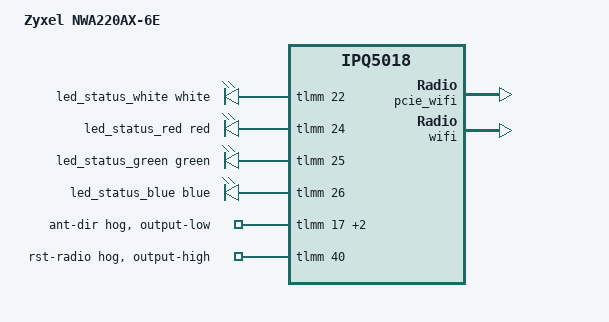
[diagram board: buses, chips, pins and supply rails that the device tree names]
// SPDX-License-Identifier: GPL-2.0-or-later OR MIT

/dts-v1/;

#include "ipq5018-zyxel-6e.dtsi"

/ {
	model = "Zyxel NWA220AX-6E";
	compatible = "zyxel,nwa220ax-6e", "qcom,ipq5018";

	leds {
		compatible = "gpio-leds";

		led_status_white: led-0 {
			function = LED_FUNCTION_STATUS;
			color = <LED_COLOR_ID_WHITE>;
			gpios = <&tlmm 22 GPIO_ACTIVE_HIGH>;
		};

		led_status_red: led-1 {
			function = LED_FUNCTION_STATUS;
			color = <LED_COLOR_ID_RED>;
			gpios = <&tlmm 24 GPIO_ACTIVE_HIGH>;
		};

		led_status_green: led-2 {
			function = LED_FUNCTION_STATUS;
			color = <LED_COLOR_ID_GREEN>;
			gpios = <&tlmm 25 GPIO_ACTIVE_HIGH>;
		};

		led_status_blue: led-3 {
			function = LED_FUNCTION_STATUS;
			color = <LED_COLOR_ID_BLUE>;
			gpios = <&tlmm 26 GPIO_ACTIVE_HIGH>;
		};
	};
};

&tlmm {
	/* antenna direction select, all low as set up by the vendor firmware */
	ant-dir-hog {
		gpio-hog;
		gpios = <17 GPIO_ACTIVE_HIGH>,
			<18 GPIO_ACTIVE_HIGH>,
			<19 GPIO_ACTIVE_HIGH>;
		output-low;
		line-name = "ant-dir";
	};

	rst-radio-hog {
		gpio-hog;
		gpios = <40 GPIO_ACTIVE_HIGH>;
		output-high;
		line-name = "rst-radio";
	};
};

&pcie_wifi {
	qcom,ath11k-calibration-variant = "Zyxel-NWA220AX-6E";
};

&q6v5_wcss {
	firmware-name = "ath11k/IPQ5018/hw1.0/q6_fw.mdt",
			"ath11k/IPQ5018/hw1.0/m3_fw.mdt";
};

&wifi {
	status = "okay";

	qcom,rproc = <&q6v5_wcss>;
	qcom,ath11k-calibration-variant = "Zyxel-NWA220AX-6E";
	qcom,ath11k-fw-memory-mode = <1>;
};
